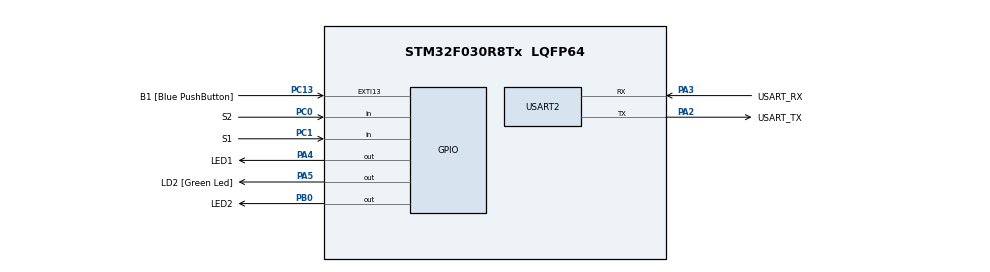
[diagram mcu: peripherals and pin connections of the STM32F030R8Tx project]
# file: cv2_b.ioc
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Mcu.Family=STM32F0
Mcu.Name=STM32F030R8Tx
Mcu.Package=LQFP64
PA13.GPIO_Label=TMS
PA13.Mode=Serial_Wire
PA13.Signal=SYS_SWDIO
PA14.GPIO_Label=TCK
PA14.Mode=Serial_Wire
PA14.Signal=SYS_SWCLK
PA2.GPIO_Label=USART_TX
PA2.GPIO_Mode=GPIO_MODE_AF_PP
PA2.GPIO_PuPd=GPIO_NOPULL
PA2.GPIO_Speed=GPIO_SPEED_FREQ_LOW
PA2.Mode=Asynchronous
PA2.Signal=USART2_TX
PA3.GPIO_Label=USART_RX
PA3.GPIO_Mode=GPIO_MODE_AF_PP
PA3.GPIO_PuPd=GPIO_NOPULL
PA3.GPIO_Speed=GPIO_SPEED_FREQ_LOW
PA3.Mode=Asynchronous
PA3.Signal=USART2_RX
PA4.GPIO_Label=LED1
PA4.Signal=GPIO_Output
PA5.GPIO_Label=LD2 [Green Led]
PA5.GPIO_Mode=GPIO_MODE_OUTPUT_PP
PA5.GPIO_PuPd=GPIO_NOPULL
PA5.GPIO_Speed=GPIO_SPEED_FREQ_LOW
PA5.Signal=GPIO_Output
PB0.GPIO_Label=LED2
PB0.Signal=GPIO_Output
PC0.GPIO_Label=S2
PC0.GPIO_PuPd=GPIO_PULLUP
PC0.Signal=GPIO_Input
PC1.GPIO_Label=S1
PC1.GPIO_PuPd=GPIO_PULLUP
PC1.Signal=GPIO_Input
PC13.GPIO_Label=B1 [Blue PushButton]
PC13.GPIO_ModeDefaultEXTI=GPIO_MODE_IT_FALLING
PC13.Signal=GPXTI13
PC14-OSC32_IN.Mode=LSE-External-Oscillator
PC14-OSC32_IN.Signal=RCC_OSC32_IN
PC15-OSC32_OUT.Mode=LSE-External-Oscillator
PC15-OSC32_OUT.Signal=RCC_OSC32_OUT
PF0-OSC_IN.Mode=HSE-External-Clock-Source
PF0-OSC_IN.Signal=RCC_OSC_IN
PF1-OSC_OUT.Signal=RCC_OSC_OUT
ProjectManager.HeapSize=0x200
ProjectManager.StackSize=0x400
ProjectManager.TargetToolchain=STM32CubeIDE
RCC.AHBFreq_Value=48000000
RCC.APB1Freq_Value=48000000
RCC.APB1TimFreq_Value=48000000
RCC.HCLKFreq_Value=48000000
RCC.PLLMUL=RCC_PLL_MUL12
RCC.SYSCLKFreq_VALUE=48000000
RCC.SYSCLKSource=RCC_SYSCLKSOURCE_PLLCLK
USART2.VirtualMode-Asynchronous=VM_ASYNC
board=NUCLEO-F030R8

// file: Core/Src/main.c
/* USER CODE BEGIN Header */
/**
  ******************************************************************************
  * @file           : main.c
  * @brief          : Main program body
  ******************************************************************************
  * @attention
  *
  * Copyright (c) 2024 STMicroelectronics.
  * All rights reserved.
  *
  * This software is licensed under terms that can be found in the LICENSE file
  * in the root directory of this software component.
  * If no LICENSE file comes with this software, it is provided AS-IS.
  *
  ******************************************************************************
  */
/* USER CODE END Header */
#include "main.h"

/* USER CODE BEGIN PD */
#define LED_TIME_BLINK 300
#define LED_TIME_SHORT 100
#define LED_TIME_LONG 1000
#define LED_TIME_PERIOD 5
/* USER CODE END PD */

/* USER CODE BEGIN PV */
volatile uint32_t Tick;
uint32_t off_time=0;
/* USER CODE END PV */

void SystemClock_Config(void);
static void MX_GPIO_Init(void);
static void MX_USART2_UART_Init(void);

/* USER CODE BEGIN 0 */
void blikac(void)
{
	static uint32_t delay;
	if (Tick > delay + LED_TIME_BLINK)
	{
		LL_GPIO_TogglePin(LED1_GPIO_Port, LED1_Pin);
		delay = Tick;
	}
}
//primitivni casove vzorkovani - kazdych, napriklad 40ms je nactena nova hodnota z tlacitka. Pokud je mensi nez puvodni hodnota - tzn. sestupná hrana - tlacitko se oznaci jako zmacknute (vykonaji se prikazy). Vzdy je pri tom nova hodnota ulozena jako stara.
//Zde reseno bez casovace na 40ms
void tlacitka(void) //dve techniky debouncningu: 1 kontrola zda predchozi hodnota je 1 a aktualni 0; nebo cteni pres promennou s bitovym posunem
{
	static uint16_t debounce = 0xFFFF;
	static uint32_t off_time;

		if (Tick > off_time)
		{
			LL_GPIO_ResetOutputPin(LED2_GPIO_Port, LED2_Pin); //Provadi se pokazde, LL je dostatecne rychly, nezdrzuje, nic se neprepisuje, nic se nedeje
		}

	static uint32_t old_s2;
	static uint32_t old_s1;
	uint32_t new_s2 = LL_GPIO_IsInputPinSet(S2_GPIO_Port, S2_Pin);
	uint32_t new_s1 = LL_GPIO_IsInputPinSet(S1_GPIO_Port, S1_Pin);
	if (old_s2 && !new_s2)
	{ //falling edge
		off_time = Tick + LED_TIME_SHORT;
		LL_GPIO_SetOutputPin(LED2_GPIO_Port, LED2_Pin);
	}
	else if(old_s1 && !new_s1)
	{
		off_time = Tick + LED_TIME_LONG;
		LL_GPIO_SetOutputPin(LED2_GPIO_Port, LED2_Pin);
	}
	old_s2 = new_s2;
	old_s1 = new_s1;
}
voida tlacitkaNew(void)
{
	static uint32_t delay;
		if (Tick > delay + LED_TIME_PERIOD)
		{
			uint32_t new_s1 = LL_GPIO_IsInputPinSet(S1_GPIO_Port, S1_Pin);

			delay = Tick;
		}
}

/* USER CODE END 0 */

int main(void)
{

  /* MCU Configuration--------------------------------------------------------*/

  /* Reset of all peripherals, Initializes the Flash interface and the Systick. */
  LL_APB1_GRP2_EnableClock(LL_APB1_GRP2_PERIPH_SYSCFG);
  LL_APB1_GRP1_EnableClock(LL_APB1_GRP1_PERIPH_PWR);

  /* Configure the system clock */
  SystemClock_Config();

  /* Initialize all configured peripherals */
  MX_GPIO_Init();
  MX_USART2_UART_Init();
  /* USER CODE BEGIN 2 */
  LL_SYSTICK_EnableIT();
  /* USER CODE END 2 */

  /* Infinite loop */
  /* USER CODE BEGIN WHILE */
  while (1)
  {
	  blikac();
	  tlacitka();
	  //tlacitkaLong();
	  //zhasnout();
    /* USER CODE END WHILE */

  }
}

void SystemClock_Config(void)
{
  LL_FLASH_SetLatency(LL_FLASH_LATENCY_1);
  while(LL_FLASH_GetLatency() != LL_FLASH_LATENCY_1)
  {
  }
  LL_RCC_HSI_Enable();

   /* Wait till HSI is ready */
  while(LL_RCC_HSI_IsReady() != 1)
  {

  }
  LL_RCC_HSI_SetCalibTrimming(16);
  LL_RCC_PLL_ConfigDomain_SYS(LL_RCC_PLLSOURCE_HSI_DIV_2, LL_RCC_PLL_MUL_12);
  LL_RCC_PLL_Enable();

   /* Wait till PLL is ready */
  while(LL_RCC_PLL_IsReady() != 1)
  {

  }
  LL_RCC_SetAHBPrescaler(LL_RCC_SYSCLK_DIV_1);
  LL_RCC_SetAPB1Prescaler(LL_RCC_APB1_DIV_1);
  LL_RCC_SetSysClkSource(LL_RCC_SYS_CLKSOURCE_PLL);

   /* Wait till System clock is ready */
  while(LL_RCC_GetSysClkSource() != LL_RCC_SYS_CLKSOURCE_STATUS_PLL)
  {

  }
  LL_Init1msTick(48000000);
  LL_SetSystemCoreClock(48000000);
}

static void MX_USART2_UART_Init(void)
{

  LL_USART_InitTypeDef USART_InitStruct = {0};

  LL_GPIO_InitTypeDef GPIO_InitStruct = {0};

  /* Peripheral clock enable */
  LL_APB1_GRP1_EnableClock(LL_APB1_GRP1_PERIPH_USART2);

  LL_AHB1_GRP1_EnableClock(LL_AHB1_GRP1_PERIPH_GPIOA);
  /**USART2 GPIO Configuration
  PA2   ------> USART2_TX
  PA3   ------> USART2_RX
  */
  GPIO_InitStruct.Pin = USART_TX_Pin;
  GPIO_InitStruct.Mode = LL_GPIO_MODE_ALTERNATE;
  GPIO_InitStruct.Speed = LL_GPIO_SPEED_FREQ_LOW;
  GPIO_InitStruct.OutputType = LL_GPIO_OUTPUT_PUSHPULL;
  GPIO_InitStruct.Pull = LL_GPIO_PULL_NO;
  GPIO_InitStruct.Alternate = LL_GPIO_AF_1;
  LL_GPIO_Init(USART_TX_GPIO_Port, &GPIO_InitStruct);

  GPIO_InitStruct.Pin = USART_RX_Pin;
  GPIO_InitStruct.Mode = LL_GPIO_MODE_ALTERNATE;
  GPIO_InitStruct.Speed = LL_GPIO_SPEED_FREQ_LOW;
  GPIO_InitStruct.OutputType = LL_GPIO_OUTPUT_PUSHPULL;
  GPIO_InitStruct.Pull = LL_GPIO_PULL_NO;
  GPIO_InitStruct.Alternate = LL_GPIO_AF_1;
  LL_GPIO_Init(USART_RX_GPIO_Port, &GPIO_InitStruct);

  USART_InitStruct.BaudRate = 38400;
  USART_InitStruct.DataWidth = LL_USART_DATAWIDTH_8B;
  USART_InitStruct.StopBits = LL_USART_STOPBITS_1;
  USART_InitStruct.Parity = LL_USART_PARITY_NONE;
  USART_InitStruct.TransferDirection = LL_USART_DIRECTION_TX_RX;
  USART_InitStruct.HardwareFlowControl = LL_USART_HWCONTROL_NONE;
  USART_InitStruct.OverSampling = LL_USART_OVERSAMPLING_16;
  LL_USART_Init(USART2, &USART_InitStruct);
  LL_USART_DisableIT_CTS(USART2);
  LL_USART_ConfigAsyncMode(USART2);
  LL_USART_Enable(USART2);

}

static void MX_GPIO_Init(void)
{
  LL_EXTI_InitTypeDef EXTI_InitStruct = {0};
  LL_GPIO_InitTypeDef GPIO_InitStruct = {0};

  /* GPIO Ports Clock Enable */
  LL_AHB1_GRP1_EnableClock(LL_AHB1_GRP1_PERIPH_GPIOC);
  LL_AHB1_GRP1_EnableClock(LL_AHB1_GRP1_PERIPH_GPIOF);
  LL_AHB1_GRP1_EnableClock(LL_AHB1_GRP1_PERIPH_GPIOA);
  LL_AHB1_GRP1_EnableClock(LL_AHB1_GRP1_PERIPH_GPIOB);

  /**/
  LL_GPIO_ResetOutputPin(LED1_GPIO_Port, LED1_Pin);

  /**/
  LL_GPIO_ResetOutputPin(LD2_GPIO_Port, LD2_Pin);

  /**/
  LL_GPIO_ResetOutputPin(LED2_GPIO_Port, LED2_Pin);

  /**/
  LL_SYSCFG_SetEXTISource(LL_SYSCFG_EXTI_PORTC, LL_SYSCFG_EXTI_LINE13);

  /**/
  LL_GPIO_SetPinPull(B1_GPIO_Port, B1_Pin, LL_GPIO_PULL_NO);

  /**/
  LL_GPIO_SetPinMode(B1_GPIO_Port, B1_Pin, LL_GPIO_MODE_INPUT);

  /**/
  EXTI_InitStruct.Line_0_31 = LL_EXTI_LINE_13;
  EXTI_InitStruct.LineCommand = ENABLE;
  EXTI_InitStruct.Mode = LL_EXTI_MODE_IT;
  EXTI_InitStruct.Trigger = LL_EXTI_TRIGGER_FALLING;
  LL_EXTI_Init(&EXTI_InitStruct);

  /**/
  GPIO_InitStruct.Pin = S2_Pin;
  GPIO_InitStruct.Mode = LL_GPIO_MODE_INPUT;
  GPIO_InitStruct.Pull = LL_GPIO_PULL_UP;
  LL_GPIO_Init(S2_GPIO_Port, &GPIO_InitStruct);

  /**/
  GPIO_InitStruct.Pin = S1_Pin;
  GPIO_InitStruct.Mode = LL_GPIO_MODE_INPUT;
  GPIO_InitStruct.Pull = LL_GPIO_PULL_UP;
  LL_GPIO_Init(S1_GPIO_Port, &GPIO_InitStruct);

  /**/
  GPIO_InitStruct.Pin = LED1_Pin;
  GPIO_InitStruct.Mode = LL_GPIO_MODE_OUTPUT;
  GPIO_InitStruct.Speed = LL_GPIO_SPEED_FREQ_LOW;
  GPIO_InitStruct.OutputType = LL_GPIO_OUTPUT_PUSHPULL;
  GPIO_InitStruct.Pull = LL_GPIO_PULL_NO;
  LL_GPIO_Init(LED1_GPIO_Port, &GPIO_InitStruct);

  /**/
  GPIO_InitStruct.Pin = LD2_Pin;
  GPIO_InitStruct.Mode = LL_GPIO_MODE_OUTPUT;
  GPIO_InitStruct.Speed = LL_GPIO_SPEED_FREQ_LOW;
  GPIO_InitStruct.OutputType = LL_GPIO_OUTPUT_PUSHPULL;
  GPIO_InitStruct.Pull = LL_GPIO_PULL_NO;
  LL_GPIO_Init(LD2_GPIO_Port, &GPIO_InitStruct);

  /**/
  GPIO_InitStruct.Pin = LED2_Pin;
  GPIO_InitStruct.Mode = LL_GPIO_MODE_OUTPUT;
  GPIO_InitStruct.Speed = LL_GPIO_SPEED_FREQ_LOW;
  GPIO_InitStruct.OutputType = LL_GPIO_OUTPUT_PUSHPULL;
  GPIO_InitStruct.Pull = LL_GPIO_PULL_NO;
  LL_GPIO_Init(LED2_GPIO_Port, &GPIO_InitStruct);

}

void Error_Handler(void)
{
  __disable_irq();
  while (1)
  {
  }
}
